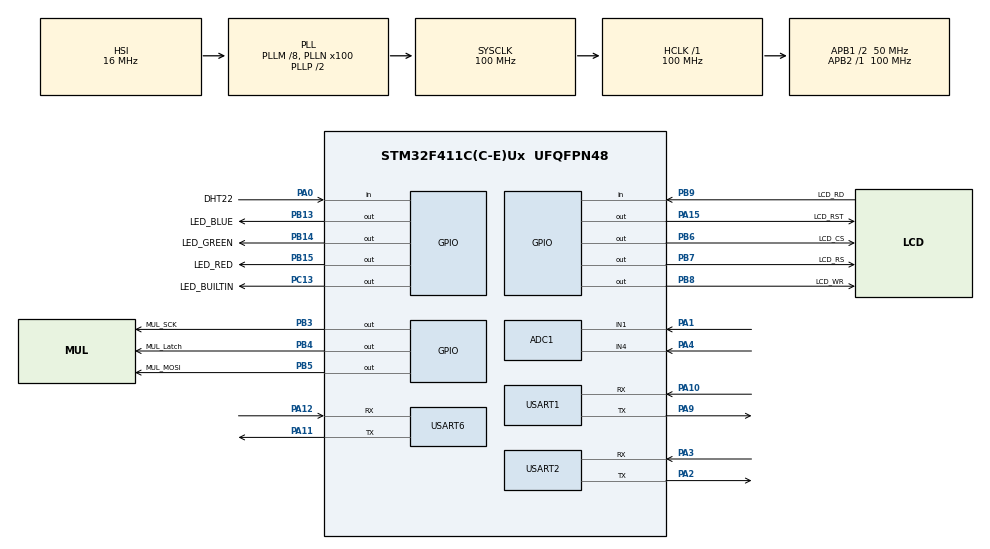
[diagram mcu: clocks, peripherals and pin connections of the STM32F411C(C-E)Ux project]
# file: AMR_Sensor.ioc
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ADC1.Channel-0\#ChannelRegularConversion=ADC_CHANNEL_1
ADC1.Channel-1\#ChannelRegularConversion=ADC_CHANNEL_4
ADC1.ContinuousConvMode=ENABLE
ADC1.NbrOfConversion=2
ADC1.NbrOfConversionFlag=1
ADC1.Rank-0\#ChannelRegularConversion=1
ADC1.Rank-1\#ChannelRegularConversion=2
ADC1.SamplingTime-0\#ChannelRegularConversion=ADC_SAMPLETIME_3CYCLES
ADC1.SamplingTime-1\#ChannelRegularConversion=ADC_SAMPLETIME_3CYCLES
ADC1.ScanConvMode=ENABLE
ADC1.master=1
Dma.ADC1.1.Direction=DMA_PERIPH_TO_MEMORY
Dma.ADC1.1.FIFOMode=DMA_FIFOMODE_DISABLE
Dma.ADC1.1.Instance=DMA2_Stream0
Dma.ADC1.1.MemDataAlignment=DMA_MDATAALIGN_WORD
Dma.ADC1.1.MemInc=DMA_MINC_ENABLE
Dma.ADC1.1.Mode=DMA_CIRCULAR
Dma.ADC1.1.PeriphDataAlignment=DMA_PDATAALIGN_WORD
Dma.ADC1.1.PeriphInc=DMA_PINC_DISABLE
Dma.ADC1.1.Priority=DMA_PRIORITY_LOW
Dma.Request0=USART2_RX
Dma.Request1=ADC1
Dma.Request2=USART1_RX
Dma.Request3=USART6_RX
Dma.USART1_RX.2.Direction=DMA_PERIPH_TO_MEMORY
Dma.USART1_RX.2.FIFOMode=DMA_FIFOMODE_DISABLE
Dma.USART1_RX.2.Instance=DMA2_Stream2
Dma.USART1_RX.2.MemDataAlignment=DMA_MDATAALIGN_BYTE
Dma.USART1_RX.2.MemInc=DMA_MINC_ENABLE
Dma.USART1_RX.2.Mode=DMA_CIRCULAR
Dma.USART1_RX.2.PeriphDataAlignment=DMA_PDATAALIGN_BYTE
Dma.USART1_RX.2.PeriphInc=DMA_PINC_DISABLE
Dma.USART1_RX.2.Priority=DMA_PRIORITY_LOW
Dma.USART2_RX.0.Direction=DMA_PERIPH_TO_MEMORY
Dma.USART2_RX.0.FIFOMode=DMA_FIFOMODE_DISABLE
Dma.USART2_RX.0.Instance=DMA1_Stream5
Dma.USART2_RX.0.MemDataAlignment=DMA_MDATAALIGN_BYTE
Dma.USART2_RX.0.MemInc=DMA_MINC_ENABLE
Dma.USART2_RX.0.Mode=DMA_CIRCULAR
Dma.USART2_RX.0.PeriphDataAlignment=DMA_PDATAALIGN_BYTE
Dma.USART2_RX.0.PeriphInc=DMA_PINC_DISABLE
Dma.USART2_RX.0.Priority=DMA_PRIORITY_LOW
Dma.USART6_RX.3.Direction=DMA_PERIPH_TO_MEMORY
Dma.USART6_RX.3.FIFOMode=DMA_FIFOMODE_DISABLE
Dma.USART6_RX.3.Instance=DMA2_Stream1
Dma.USART6_RX.3.MemDataAlignment=DMA_MDATAALIGN_BYTE
Dma.USART6_RX.3.MemInc=DMA_MINC_ENABLE
Dma.USART6_RX.3.Mode=DMA_CIRCULAR
Dma.USART6_RX.3.PeriphDataAlignment=DMA_PDATAALIGN_BYTE
Dma.USART6_RX.3.PeriphInc=DMA_PINC_DISABLE
Dma.USART6_RX.3.Priority=DMA_PRIORITY_LOW
Mcu.Family=STM32F4
Mcu.Name=STM32F411C(C-E)Ux
Mcu.Package=UFQFPN48
NVIC.DMA1_Stream5_IRQn=true\:0\:0\:false\:false\:true\:false\:true\:true
NVIC.DMA2_Stream0_IRQn=true\:0\:0\:false\:false\:true\:false\:true\:true
NVIC.DMA2_Stream1_IRQn=true\:0\:0\:false\:false\:true\:false\:true\:true
NVIC.DMA2_Stream2_IRQn=true\:0\:0\:false\:false\:true\:false\:true\:true
NVIC.PriorityGroup=NVIC_PRIORITYGROUP_4
NVIC.USART6_IRQn=true\:0\:0\:false\:false\:true\:true\:true\:true
PA0-WKUP.GPIO_Label=DHT22
PA0-WKUP.Signal=GPIO_Input
PA1.Signal=ADCx_IN1
PA10.Mode=Asynchronous
PA10.Signal=USART1_RX
PA11.Mode=Asynchronous
PA11.Signal=USART6_TX
PA12.Mode=Asynchronous
PA12.Signal=USART6_RX
PA13.Mode=Serial_Wire
PA13.Signal=SYS_JTMS-SWDIO
PA14.Mode=Serial_Wire
PA14.Signal=SYS_JTCK-SWCLK
PA15.GPIO_Label=LCD_RST
PA15.Signal=GPIO_Output
PA2.Mode=Asynchronous
PA2.Signal=USART2_TX
PA3.Mode=Asynchronous
PA3.Signal=USART2_RX
PA4.Signal=ADCx_IN4
PA9.Mode=Asynchronous
PA9.Signal=USART1_TX
PB13.GPIO_Label=LED_BLUE
PB13.Signal=GPIO_Output
PB14.GPIO_Label=LED_GREEN
PB14.Signal=GPIO_Output
PB15.GPIO_Label=LED_RED
PB15.Signal=GPIO_Output
PB3.GPIO_Label=MUL_SCK
PB3.Signal=GPIO_Output
PB4.GPIO_Label=MUL_Latch
PB4.Signal=GPIO_Output
PB5.GPIO_Label=MUL_MOSI
PB5.Signal=GPIO_Output
PB6.GPIO_Label=LCD_CS
PB6.Signal=GPIO_Output
PB7.GPIO_Label=LCD_RS
PB7.Signal=GPIO_Output
PB8.GPIO_Label=LCD_WR
PB8.Signal=GPIO_Output
PB9.GPIO_Label=LCD_RD
PB9.Signal=GPIO_Input
PC13-ANTI_TAMP.GPIO_Label=LED_BUILTIN
PC13-ANTI_TAMP.Signal=GPIO_Output
PH0\ -\ OSC_IN.Mode=HSE-External-Oscillator
PH0\ -\ OSC_IN.Signal=RCC_OSC_IN
PH1\ -\ OSC_OUT.Mode=HSE-External-Oscillator
PH1\ -\ OSC_OUT.Signal=RCC_OSC_OUT
ProjectManager.HeapSize=0x200
ProjectManager.StackSize=0x400
ProjectManager.TargetToolchain=STM32CubeIDE
RCC.48MHZClocksFreq_Value=50000000
RCC.AHBFreq_Value=100000000
RCC.APB1CLKDivider=RCC_HCLK_DIV2
RCC.APB1Freq_Value=50000000
RCC.APB1TimFreq_Value=100000000
RCC.APB2Freq_Value=100000000
RCC.APB2TimFreq_Value=100000000
RCC.CortexFreq_Value=100000000
RCC.HCLKFreq_Value=100000000
RCC.HSE_VALUE=25000000
RCC.HSI_VALUE=16000000
RCC.LSE_VALUE=32768
RCC.PLLM=8
RCC.PLLN=100
RCC.SYSCLKFreq_VALUE=100000000
RCC.SYSCLKSource=RCC_SYSCLKSOURCE_PLLCLK
RCC.VCOOutputFreq_Value=200000000
SH.ADCx_IN1.0=ADC1_IN1,IN1
SH.ADCx_IN4.0=ADC1_IN4,IN4
TIM1.Period=0xffff-1
TIM1.Prescaler=100-1
USART1.VirtualMode=VM_ASYNC
USART2.VirtualMode=VM_ASYNC
USART6.VirtualMode=VM_ASYNC
VP_TIM1_VS_ClockSourceINT.Mode=Internal
board=custom

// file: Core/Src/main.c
/* USER CODE BEGIN Header */
/**
  ******************************************************************************
  * @file           : main.c
  * @brief          : Main program body
  ******************************************************************************
  * @attention
  *
  * Copyright (c) 2024 STMicroelectronics.
  * All rights reserved.
  *
  * This software is licensed under terms that can be found in the LICENSE file
  * in the root directory of this software component.
  * If no LICENSE file comes with this software, it is provided AS-IS.
  *
  ******************************************************************************
  */
/* USER CODE END Header */
#include "main.h"

/* USER CODE BEGIN Includes */
#include 	"BNO08X.h"
#include 	"DHT22.h"
#include 	"Voltage_Current.h"
#include 	"HX711.h"
#include	"ESP01.h"
#include 	<stdint.h>
#include 	<string.h>
#include 	<stdio.h>

#include "communication_full.h"
#include	"fonts.h"
#include 	"tft.h"
#include	"functions.h"
/* USER CODE END Includes */

/* USER CODE BEGIN PTD */
#define		USE_BNO08X
//#define		USE_DHT22
#define		USE_VOLT_CURRENT
//#define		USE_LOADCELL
#define		USE_COM_CONTROL
#define		USE_COM_PC
//#define		USE_LCD

/* USER CODE END PTD */

ADC_HandleTypeDef hadc1;
DMA_HandleTypeDef hdma_adc1;

TIM_HandleTypeDef htim1;

UART_HandleTypeDef huart1;
UART_HandleTypeDef huart2;
UART_HandleTypeDef huart6;
DMA_HandleTypeDef hdma_usart1_rx;
DMA_HandleTypeDef hdma_usart2_rx;
DMA_HandleTypeDef hdma_usart6_rx;

/* USER CODE BEGIN PV */
// ID LCD
uint16_t ID = 37697;

// Buffer UART
char Buffer[50];
char BufferLast[50];
//uint8_t RX_Data[100];

// Channel Loadcell
float chA= 0;
float chB = 0;

// Typedef BNO08x
BNO08X_Typedef BNO08x_Data;

// Typedef DHT22
DHT_Typedef DHT22_Data;

// Typedef Voltage
Voltage_Current_Typedef Volt_Current_Data;

// Typedef Loadcell
hx711_t Loadcell_Data;

// Typedef All Sensor Data
sensor_package_t Sensor_Data;

// Typedef Communication STM32Control
feedback_ctrl_t feedback_control;

// Typedef Communication PC
com_pc_get_t message_from_pc;

/* USER CODE END PV */

void SystemClock_Config(void);
static void MX_GPIO_Init(void);
static void MX_DMA_Init(void);
static void MX_USART2_UART_Init(void);
static void MX_USART6_UART_Init(void);
static void MX_ADC1_Init(void);
static void MX_USART1_UART_Init(void);
static void MX_TIM1_Init(void);

/* USER CODE BEGIN 0 */

////////////////////////////////////// COMMUNICATION CALLBACK ////////////////////////////////////

void HAL_UART_RxCpltCallback(UART_HandleTypeDef *huart)
{
	if (huart == &huart2) {

		// Callback for BNO08X Data
		#ifdef USE_BNO08X
	    BNO08X_GetData(&BNO08x_Data);
    	#endif

	} else if (huart == &huart1) {

	    // Callback for Communicate to PC
		#ifdef USE_COM_PC
		rx_pc_get(&message_from_pc);
		#endif

	} else if(huart == &huart6){

		// Callback Receive data from STM32 Control
		#ifdef USE_COM_CONTROL
		rx_ctrl_feedback(&feedback_control);
		#endif
	}
}

/* USER CODE END 0 */

int main(void)
{

  /* MCU Configuration--------------------------------------------------------*/

  /* Reset of all peripherals, Initializes the Flash interface and the Systick. */
  HAL_Init();

  /* Configure the system clock */
  SystemClock_Config();

  /* Initialize all configured peripherals */
  MX_GPIO_Init();
  MX_DMA_Init();
  MX_USART2_UART_Init();
  MX_USART6_UART_Init();
  MX_ADC1_Init();
  MX_USART1_UART_Init();
  MX_TIM1_Init();
  /* USER CODE BEGIN 2 */

  ////////////////////////////////////// SENSOR INITIALIZATION ////////////////////////////////////

  // BNO08X initialization
  #ifdef USE_BNO08X
  BNO08X_Init(&huart2);
  #endif

  // DHT22 Initialization
  #ifdef USE_DHT22
  DHT_Start();
  #endif

  // Volt & Current Initialization
  #ifdef USE_VOLT_CURRENT
  VoltCurrent_Init(&hadc1);
  #endif

  // Load cell Initialization
  #ifdef USE_LOADCELL
  hx711_start(&Loadcell_Data, GPIOB, GPIO_PIN_0, GPIOB, GPIO_PIN_1);
  #endif

  // Initialize Communication to Control
  #ifdef USE_COM_CONTROL
  komunikasi_ctrl_init(&huart6);
  rx_ctrl_start();
  #endif

  // Initialize Communication to PC
  #ifdef USE_COM_PC
  komunikasi_pc_init(&huart1);
  rx_pc_start_get();
  #endif

  // LCD Initialization
  #ifdef USE_LCD
  HAL_TIM_Base_Start(&htim1);
  readID();
  tft_init(ID);
  HAL_Delay(1000);
  fillScreen(BLACK);
  setRotation(135);
  #endif

  /* USER CODE END 2 */

  /* Infinite loop */
  /* USER CODE BEGIN WHILE */
  while (1)
  {

	  ////////////////////////////////////// SENSOR READING ////////////////////////////////////
//	  DHT_Timer_Test(50000);
	  // Reading Data in DHT22 Sensor
//	  DHT_GetData(&DHT22_Data);
//	  Sensor_Data.temperature = DHT22_Data.Temperature;
//	  Sensor_Data.humidity = DHT22_Data.Humidity;

//	  // Reading Data in Voltage Sensor
//	  Get_Voltage_Measurement(&Volt_Current_Data);
//	  Sensor_Data.voltage = Volt_Current_Data.voltage;
//
//	  // Reading Data in Current Sensor
//	  Get_Current_Measurement(&Volt_Current_Data);
//	  Sensor_Data.current = Volt_Current_Data.current;
//
//	  // Reading Data in Load cell Sensor
//	  Sensor_Data.loadcell = hx711_measure_weight(Loadcell_Data);
//
//	  ////////////////////////////////////// SENDING DATA TO PC ////////////////////////////////
//
	  // Sending BNO08X Data
//	  tx_pc_send_BNO08X(BNO08x_Data);

	  // Sending Sensor Data
//	  tx_pc_send_Sensor(Sensor_Data);
//
//	  ////////////////////////////////////// SENDING DATA TO CONTROL ///////////////////////////
//
	  // Sending BNO08X Data
//	  tx_ctrl_send_BNO08X(BNO08x_Data);

//	  HAL_Delay(3000);

    /* USER CODE END WHILE */

  }
}

void SystemClock_Config(void)
{
  RCC_OscInitTypeDef RCC_OscInitStruct = {0};
  RCC_ClkInitTypeDef RCC_ClkInitStruct = {0};

  /** Configure the main internal regulator output voltage
  */
  __HAL_RCC_PWR_CLK_ENABLE();
  __HAL_PWR_VOLTAGESCALING_CONFIG(PWR_REGULATOR_VOLTAGE_SCALE1);

  /** Initializes the RCC Oscillators according to the specified parameters
  * in the RCC_OscInitTypeDef structure.
  */
  RCC_OscInitStruct.OscillatorType = RCC_OSCILLATORTYPE_HSI;
  RCC_OscInitStruct.HSIState = RCC_HSI_ON;
  RCC_OscInitStruct.HSICalibrationValue = RCC_HSICALIBRATION_DEFAULT;
  RCC_OscInitStruct.PLL.PLLState = RCC_PLL_ON;
  RCC_OscInitStruct.PLL.PLLSource = RCC_PLLSOURCE_HSI;
  RCC_OscInitStruct.PLL.PLLM = 8;
  RCC_OscInitStruct.PLL.PLLN = 100;
  RCC_OscInitStruct.PLL.PLLP = RCC_PLLP_DIV2;
  RCC_OscInitStruct.PLL.PLLQ = 4;
  if (HAL_RCC_OscConfig(&RCC_OscInitStruct) != HAL_OK)
  {
    Error_Handler();
  }

  /** Initializes the CPU, AHB and APB buses clocks
  */
  RCC_ClkInitStruct.ClockType = RCC_CLOCKTYPE_HCLK|RCC_CLOCKTYPE_SYSCLK
                              |RCC_CLOCKTYPE_PCLK1|RCC_CLOCKTYPE_PCLK2;
  RCC_ClkInitStruct.SYSCLKSource = RCC_SYSCLKSOURCE_PLLCLK;
  RCC_ClkInitStruct.AHBCLKDivider = RCC_SYSCLK_DIV1;
  RCC_ClkInitStruct.APB1CLKDivider = RCC_HCLK_DIV2;
  RCC_ClkInitStruct.APB2CLKDivider = RCC_HCLK_DIV1;

  if (HAL_RCC_ClockConfig(&RCC_ClkInitStruct, FLASH_LATENCY_3) != HAL_OK)
  {
    Error_Handler();
  }
}

static void MX_ADC1_Init(void)
{

//  ADC_ChannelConfTypeDef sConfig = {0};

  /** Configure the global features of the ADC (Clock, Resolution, Data Alignment and number of conversion)
  */
  hadc1.Instance = ADC1;
  hadc1.Init.ClockPrescaler = ADC_CLOCK_SYNC_PCLK_DIV4;
  hadc1.Init.Resolution = ADC_RESOLUTION_12B;
  hadc1.Init.ScanConvMode = ENABLE;
  hadc1.Init.ContinuousConvMode = ENABLE;
  hadc1.Init.DiscontinuousConvMode = DISABLE;
  hadc1.Init.ExternalTrigConvEdge = ADC_EXTERNALTRIGCONVEDGE_NONE;
  hadc1.Init.ExternalTrigConv = ADC_SOFTWARE_START;
  hadc1.Init.DataAlign = ADC_DATAALIGN_RIGHT;
  hadc1.Init.NbrOfConversion = 1;
  hadc1.Init.DMAContinuousRequests = DISABLE;
  hadc1.Init.EOCSelection = ADC_EOC_SINGLE_CONV;
  if (HAL_ADC_Init(&hadc1) != HAL_OK)
  {
    Error_Handler();
  }
//
//  /** Configure for the selected ADC regular channel its corresponding rank in the sequencer and its sample time.
//  */
//  sConfig.Channel = ADC_CHANNEL_1;
//  sConfig.Rank = 1;
//  sConfig.SamplingTime = ADC_SAMPLETIME_3CYCLES;
//  if (HAL_ADC_ConfigChannel(&hadc1, &sConfig) != HAL_OK)
//  {
//    Error_Handler();
//  }
//
//  /** Configure for the selected ADC regular channel its corresponding rank in the sequencer and its sample time.
//  */
//  sConfig.Channel = ADC_CHANNEL_4;
//  sConfig.Rank = 2;
//  if (HAL_ADC_ConfigChannel(&hadc1, &sConfig) != HAL_OK)
//  {
//    Error_Handler();
//  }

}

static void MX_TIM1_Init(void)
{

  TIM_ClockConfigTypeDef sClockSourceConfig = {0};
  TIM_MasterConfigTypeDef sMasterConfig = {0};

  htim1.Instance = TIM1;
  htim1.Init.Prescaler = 100-1;
  htim1.Init.CounterMode = TIM_COUNTERMODE_UP;
  htim1.Init.Period = 0xffff-1;
  htim1.Init.ClockDivision = TIM_CLOCKDIVISION_DIV1;
  htim1.Init.RepetitionCounter = 0;
  htim1.Init.AutoReloadPreload = TIM_AUTORELOAD_PRELOAD_DISABLE;
  if (HAL_TIM_Base_Init(&htim1) != HAL_OK)
  {
    Error_Handler();
  }
  sClockSourceConfig.ClockSource = TIM_CLOCKSOURCE_INTERNAL;
  if (HAL_TIM_ConfigClockSource(&htim1, &sClockSourceConfig) != HAL_OK)
  {
    Error_Handler();
  }
  sMasterConfig.MasterOutputTrigger = TIM_TRGO_RESET;
  sMasterConfig.MasterSlaveMode = TIM_MASTERSLAVEMODE_DISABLE;
  if (HAL_TIMEx_MasterConfigSynchronization(&htim1, &sMasterConfig) != HAL_OK)
  {
    Error_Handler();
  }

}

static void MX_USART1_UART_Init(void)
{

  huart1.Instance = USART1;
  huart1.Init.BaudRate = 115200;
  huart1.Init.WordLength = UART_WORDLENGTH_8B;
  huart1.Init.StopBits = UART_STOPBITS_1;
  huart1.Init.Parity = UART_PARITY_NONE;
  huart1.Init.Mode = UART_MODE_TX_RX;
  huart1.Init.HwFlowCtl = UART_HWCONTROL_NONE;
  huart1.Init.OverSampling = UART_OVERSAMPLING_16;
  if (HAL_UART_Init(&huart1) != HAL_OK)
  {
    Error_Handler();
  }

}

static void MX_USART2_UART_Init(void)
{

  huart2.Instance = USART2;
  huart2.Init.BaudRate = 115200;
  huart2.Init.WordLength = UART_WORDLENGTH_8B;
  huart2.Init.StopBits = UART_STOPBITS_1;
  huart2.Init.Parity = UART_PARITY_NONE;
  huart2.Init.Mode = UART_MODE_TX_RX;
  huart2.Init.HwFlowCtl = UART_HWCONTROL_NONE;
  huart2.Init.OverSampling = UART_OVERSAMPLING_16;
  if (HAL_UART_Init(&huart2) != HAL_OK)
  {
    Error_Handler();
  }

}

static void MX_USART6_UART_Init(void)
{

  huart6.Instance = USART6;
  huart6.Init.BaudRate = 115200;
  huart6.Init.WordLength = UART_WORDLENGTH_8B;
  huart6.Init.StopBits = UART_STOPBITS_1;
  huart6.Init.Parity = UART_PARITY_NONE;
  huart6.Init.Mode = UART_MODE_TX_RX;
  huart6.Init.HwFlowCtl = UART_HWCONTROL_NONE;
  huart6.Init.OverSampling = UART_OVERSAMPLING_16;
  if (HAL_UART_Init(&huart6) != HAL_OK)
  {
    Error_Handler();
  }

}

static void MX_DMA_Init(void)
{

  /* DMA controller clock enable */
  __HAL_RCC_DMA1_CLK_ENABLE();
  __HAL_RCC_DMA2_CLK_ENABLE();

  /* DMA interrupt init */
  /* DMA1_Stream5_IRQn interrupt configuration */
  HAL_NVIC_SetPriority(DMA1_Stream5_IRQn, 0, 0);
  HAL_NVIC_EnableIRQ(DMA1_Stream5_IRQn);
  /* DMA2_Stream0_IRQn interrupt configuration */
  HAL_NVIC_SetPriority(DMA2_Stream0_IRQn, 0, 0);
  HAL_NVIC_EnableIRQ(DMA2_Stream0_IRQn);
  /* DMA2_Stream1_IRQn interrupt configuration */
  HAL_NVIC_SetPriority(DMA2_Stream1_IRQn, 0, 0);
  HAL_NVIC_EnableIRQ(DMA2_Stream1_IRQn);
  /* DMA2_Stream2_IRQn interrupt configuration */
  HAL_NVIC_SetPriority(DMA2_Stream2_IRQn, 0, 0);
  HAL_NVIC_EnableIRQ(DMA2_Stream2_IRQn);

}

static void MX_GPIO_Init(void)
{
  GPIO_InitTypeDef GPIO_InitStruct = {0};

  /* GPIO Ports Clock Enable */
  __HAL_RCC_GPIOC_CLK_ENABLE();
  __HAL_RCC_GPIOH_CLK_ENABLE();
  __HAL_RCC_GPIOA_CLK_ENABLE();
  __HAL_RCC_GPIOB_CLK_ENABLE();

  /*Configure GPIO pin Output Level */
  HAL_GPIO_WritePin(LED_BUILTIN_GPIO_Port, LED_BUILTIN_Pin, GPIO_PIN_RESET);

  /*Configure GPIO pin Output Level */
  HAL_GPIO_WritePin(GPIOB, LED_BLUE_Pin|LED_GREEN_Pin|LED_RED_Pin|MUL_SCK_Pin
                          |MUL_Latch_Pin|MUL_MOSI_Pin|LCD_CS_Pin|LCD_RS_Pin
                          |LCD_WR_Pin, GPIO_PIN_RESET);

  /*Configure GPIO pin Output Level */
  HAL_GPIO_WritePin(LCD_RST_GPIO_Port, LCD_RST_Pin, GPIO_PIN_RESET);

  /*Configure GPIO pin : LED_BUILTIN_Pin */
  GPIO_InitStruct.Pin = LED_BUILTIN_Pin;
  GPIO_InitStruct.Mode = GPIO_MODE_OUTPUT_PP;
  GPIO_InitStruct.Pull = GPIO_NOPULL;
  GPIO_InitStruct.Speed = GPIO_SPEED_FREQ_LOW;
  HAL_GPIO_Init(LED_BUILTIN_GPIO_Port, &GPIO_InitStruct);

  /*Configure GPIO pin : DHT22_Pin */
  GPIO_InitStruct.Pin = DHT22_Pin;
  GPIO_InitStruct.Mode = GPIO_MODE_INPUT;
  GPIO_InitStruct.Pull = GPIO_NOPULL;
  HAL_GPIO_Init(DHT22_GPIO_Port, &GPIO_InitStruct);

  /*Configure GPIO pins : LED_BLUE_Pin LED_GREEN_Pin LED_RED_Pin MUL_SCK_Pin
                           MUL_Latch_Pin MUL_MOSI_Pin LCD_CS_Pin LCD_RS_Pin
                           LCD_WR_Pin */
  GPIO_InitStruct.Pin = LED_BLUE_Pin|LED_GREEN_Pin|LED_RED_Pin|MUL_SCK_Pin
                          |MUL_Latch_Pin|MUL_MOSI_Pin|LCD_CS_Pin|LCD_RS_Pin
                          |LCD_WR_Pin;
  GPIO_InitStruct.Mode = GPIO_MODE_OUTPUT_PP;
  GPIO_InitStruct.Pull = GPIO_NOPULL;
  GPIO_InitStruct.Speed = GPIO_SPEED_FREQ_LOW;
  HAL_GPIO_Init(GPIOB, &GPIO_InitStruct);

  /*Configure GPIO pin : LCD_RST_Pin */
  GPIO_InitStruct.Pin = LCD_RST_Pin;
  GPIO_InitStruct.Mode = GPIO_MODE_OUTPUT_PP;
  GPIO_InitStruct.Pull = GPIO_NOPULL;
  GPIO_InitStruct.Speed = GPIO_SPEED_FREQ_LOW;
  HAL_GPIO_Init(LCD_RST_GPIO_Port, &GPIO_InitStruct);

  /*Configure GPIO pin : LCD_RD_Pin */
  GPIO_InitStruct.Pin = LCD_RD_Pin;
  GPIO_InitStruct.Mode = GPIO_MODE_INPUT;
  GPIO_InitStruct.Pull = GPIO_NOPULL;
  HAL_GPIO_Init(LCD_RD_GPIO_Port, &GPIO_InitStruct);

}

void Error_Handler(void)
{
  __disable_irq();
  while (1)
  {
  }
}
